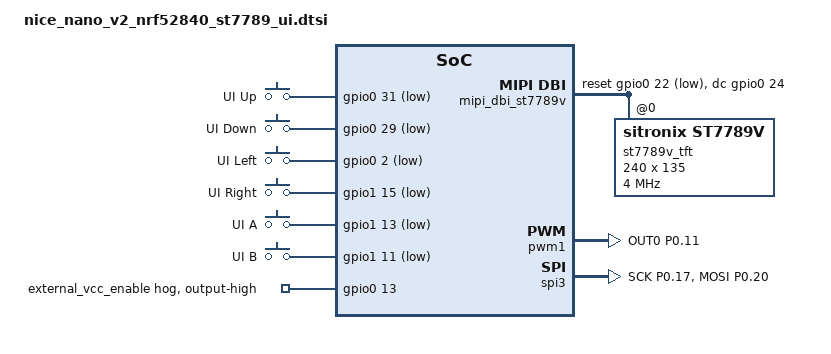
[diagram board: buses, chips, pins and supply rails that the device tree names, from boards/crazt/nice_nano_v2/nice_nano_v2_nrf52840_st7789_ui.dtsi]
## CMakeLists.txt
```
#
# Copyright (c) 2018 Nordic Semiconductor
#
# SPDX-License-Identifier: LicenseRef-Nordic-5-Clause
#
cmake_minimum_required(VERSION 3.20.0)

# Configure build metadata from git (best-effort)
find_package(Git)

if(GIT_EXECUTABLE)
  execute_process(
    COMMAND ${GIT_EXECUTABLE} branch --show-current
    WORKING_DIRECTORY ${CMAKE_SOURCE_DIR}
    OUTPUT_VARIABLE GIT_BRANCH
    )
  # Prefer a https URL for display (falls back to 'unknown')
  execute_process(
    COMMAND ${GIT_EXECUTABLE} config --get remote.origin.url
    WORKING_DIRECTORY ${CMAKE_SOURCE_DIR}
    OUTPUT_VARIABLE GIT_REPO_URL_SSH
    )
  execute_process(
    COMMAND ${GIT_EXECUTABLE} config --get remote.origin.https.url
    WORKING_DIRECTORY ${CMAKE_SOURCE_DIR}
    OUTPUT_VARIABLE GIT_REPO_URL_HTTPS
    )
  execute_process(
    COMMAND ${GIT_EXECUTABLE} log -1 --pretty=%an
    WORKING_DIRECTORY ${CMAKE_SOURCE_DIR}
    OUTPUT_VARIABLE GIT_AUTHOR
    )
endif()

if(GIT_BRANCH STREQUAL "")
  set(GIT_BRANCH unknown)
  message(WARNING "Unknown Git Branch")
endif()
# Choose URL: origin.https.url > origin.url
if(NOT GIT_REPO_URL_HTTPS STREQUAL "")
  set(GIT_REPO_URL ${GIT_REPO_URL_HTTPS})
else()
  set(GIT_REPO_URL ${GIT_REPO_URL_SSH})
endif()

# Normalize GitHub SSH URLs to HTTPS for display in firmware info
if(GIT_REPO_URL MATCHES "^git@github\\.com:(.+)$")
  set(GIT_REPO_URL "https://github.com/${CMAKE_MATCH_1}")
elseif(GIT_REPO_URL MATCHES "^ssh://git@github\\.com/(.+)$")
  set(GIT_REPO_URL "https://github.com/${CMAKE_MATCH_1}")
endif()
string(REGEX REPLACE "\\.git$" "" GIT_REPO_URL "${GIT_REPO_URL}")

if(GIT_REPO_URL STREQUAL "")
  set(GIT_REPO_URL unknown)
  message(WARNING "Unknown Git Repo URL")
endif()
if(GIT_AUTHOR STREQUAL "")
  set(GIT_AUTHOR unknown)
  message(WARNING "Unknown Git Author")
endif()

string(STRIP ${GIT_BRANCH} GIT_BRANCH)
string(STRIP ${GIT_REPO_URL} GIT_REPO_URL)
string(STRIP ${GIT_AUTHOR} GIT_AUTHOR)

# Pass metadata to C compilation units
add_compile_definitions(
  FW_GIT_BRANCH="${GIT_BRANCH}"
  FW_GIT_REPO_URL="${GIT_REPO_URL}"
  FW_GIT_AUTHOR="${GIT_AUTHOR}"
)

set(SLIMEVR_RECEIVER_HID_OVERLAY ${CMAKE_CURRENT_SOURCE_DIR}/boards/receiver_hid.overlay)
set(SLIMEVR_RECEIVER_ENTROPY_OVERLAY ${CMAKE_CURRENT_SOURCE_DIR}/boards/receiver_entropy.overlay)

if(DEFINED EXTRA_DTC_OVERLAY_FILE)
  set(EXTRA_DTC_OVERLAY_FILE ${SLIMEVR_RECEIVER_HID_OVERLAY} ${EXTRA_DTC_OVERLAY_FILE} ${SLIMEVR_RECEIVER_ENTROPY_OVERLAY})
else()
  set(EXTRA_DTC_OVERLAY_FILE ${SLIMEVR_RECEIVER_HID_OVERLAY} ${SLIMEVR_RECEIVER_ENTROPY_OVERLAY})
endif()

find_package(Zephyr REQUIRED HINTS $ENV{ZEPHYR_BASE})
project(NONE)

FILE(GLOB_RECURSE app_sources CONFIGURE_DEPENDS src/*.c)
# Data collection: choose HID or CDC implementation, or exclude both
if(CONFIG_DATA_COLLECT)
  if(CONFIG_DATA_COLLECT_HID)
    # HID mode: exclude CDC implementation
    list(FILTER app_sources EXCLUDE REGEX ".*data_collect\\.c$")
  else()
    # CDC mode: exclude HID implementation
    list(FILTER app_sources EXCLUDE REGEX ".*data_collect_hid\\.c$")
  endif()
else()
  # No data collection: exclude both
  list(FILTER app_sources EXCLUDE REGEX ".*data_collect.*\\.c$")
endif()
# NORDIC SDK APP START
target_sources(app PRIVATE ${app_sources})
# NORDIC SDK APP END

target_include_directories(app PRIVATE src)

# Force recompile for updated build timestamp
add_custom_target(touch_util_h ALL
    COMMAND ${CMAKE_COMMAND} -E touch ${CMAKE_SOURCE_DIR}/src/build_defines.h
)
```

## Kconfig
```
#
# Copyright (c) 2020 Nordic Semiconductor
#
# SPDX-License-Identifier: LicenseRef-Nordic-5-Clause
#

choice
	prompt "Status LED color mapping"
    default LED_TRI_COLOR

config LED_RGB_COLOR
    bool "Use RGB color mapping"
    help
        Use RGB or RG color mapping for LED status if available.

config LED_TRI_COLOR
    bool "Use default color mapping"
    help
        Use the default color mapping for LED status.

endchoice

menu "Status LED default status color"
    depends on LED_RGB_COLOR

config LED_DEFAULT_COLOR_R
    int "Red value"
    range 0 10000
    default 4000
    depends on LED_RGB_COLOR
    help
        Red color for default status.
        Valid range is 0 to 10000.

config LED_DEFAULT_COLOR_G
    int "Green value"
    range 0 10000
    default 6000
    depends on LED_RGB_COLOR
    help
        Green color for default status.
        Valid range is 0 to 10000.

config LED_DEFAULT_COLOR_B
    int "Blue value"
    range 0 10000
    default 0
    depends on LED_RGB_COLOR
    help
        Blue color for default status.
        Valid range is 0 to 10000.

endmenu

config RADIO_TX_POWER
    int "Radio output power (dBm)"
    default 30
    help
        Radio output power level.
        A lower value may reduce power consumption.

config RADIO_RF_CHANNEL
    int "Radio RF channel"
    default 2
    help
        Radio RF channel (0-100).
        Must match the receiver channel.

config RADIO_AUTO_CHANNEL
    bool "Loss-triggered runtime receiver channel avoidance"
    default y
    select ENTROPY_GENERATOR
    help
        Compile automatic avoidance support; runtime starts disabled on every
        boot. Explicit channelauto on enables it until reboot.
        Exchange short no-ACK identity beacons on the working channel
        every 2-4 seconds. A full 10-second normal sequence-loss window
        with at least 100 inferred frames and strictly more than 20% loss starts
        a distributed energy survey and finalist confirmation. Choose only
        even channels 0-88 with strictly quieter accepted peak energy than
        HOME; ties and incomplete coverage do not move. Matched paired-address
        activity rejects a visit. Known peer channels are excluded; HOME-only
        beacons do not negotiate destinations or prove other channels vacant.
        No observed peer is required for one trial migration. After a
        successful move and original-roster recovery, a fresh window on a
        stable receiver layout with persistent >20% loss stops automatic
        radio actions and suggests possible host USB/RF
        interference: use an extension cable and move away from the host.
        Explicit channelauto on or reboot clears the persistent-loss stop;
        reboot leaves avoidance disabled.
        Manual settings retain range 0-100; candidate channel 90 is excluded.
        Defers during pairing, OTA, raw capture and channel operations.
        Test-all suspends loss scans; working-channel beacons continue.
        A manual override disables avoidance until explicit channelauto on.

config RADIO_RETRANSMIT_DELAY
    int "Radio retransmit delay (µs)"
    default 600
    help
        Radio retransmit delay.

config PAIRING_TIMEOUT
    int "Pairing mode timeout (seconds)"
    default 300
    help
        Timeout for pairing mode in seconds.
        After this time, pairing mode will automatically exit.
        Default is 300 seconds (5 minutes).
        Set to 0 to disable timeout.

config DATA_COLLECT
    bool "Enable raw sensor data collection interface"
    default n
    help
        Enable streaming raw IMU and magnetometer data from trackers.
        Choose HID or CDC transport via DATA_COLLECT_HID.

config DATA_COLLECT_HID
    bool "Use HID endpoint for data collection (instead of CDC serial)"
    depends on DATA_COLLECT
    default y
    help
        When enabled, raw data is sent via a dedicated HID endpoint.
        When disabled, raw data is sent via a second CDC ACM serial port.

config SLIMEVR_USB_DEVICE_VID
    hex "SlimeVR USB vendor ID"
    default 0x1209
    help
        USB vendor ID used by the SlimeVR USBD_NEXT device.

config SLIMEVR_USB_DEVICE_PID
    hex "SlimeVR USB product ID"
    default 0x7690
    help
        USB product ID used by the SlimeVR receiver firmware.

config SLIMEVR_USB_DEVICE_MANUFACTURER
    string "SlimeVR USB manufacturer"
    default "SlimeVR"
    help
        USB manufacturer string and console banner prefix.

config SLIMEVR_USB_DEVICE_PRODUCT
    string "SlimeVR USB product"
    default "SlimeNRF Receiver"
    help
        USB product string and console banner name.

config SLIMEVR_USB_DEVICE_MAX_POWER
    int "SlimeVR USB max power"
    range 0 250
    default 100
    help
        USB bMaxPower value in 2 mA units.

menu "TDMA diagnostics"

config TDMA_DIAGNOSTICS
    bool "Compile in TDMA/RF phase diagnostics"
    default n
    help
        Per-tracker phase/RSSI histograms, sync bookkeeping counters
        (ping_rej, extrap_skip) and the console health snapshot.
        Disable for production builds: reclaims ~25 KB RAM and removes
        per-packet histogram work from the radio event path. TDMA
        scheduling and PING/PONG clock sync stay fully functional
        without this option; only the measurement instrumentation is
        removed at compile time.

endmenu

source "Kconfig.zephyr"
```

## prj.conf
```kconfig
#CONFIG_NCS_SAMPLES_DEFAULTS
CONFIG_ASSERT=y
CONFIG_ASSERT_NO_COND_INFO=y
CONFIG_ASSERT_NO_MSG_INFO=y
CONFIG_RESET_ON_FATAL_ERROR=n
CONFIG_REBOOT=y

CONFIG_NCS_APPLICATION_BOOT_BANNER_STRING="SlimeVR-Tracker-nRF-Receiver"
#CONFIG_NCS_BOOT_BANNER=n
CONFIG_BOOT_BANNER=n

# HEX carries mapped-partition addresses for native UF2 generation.
CONFIG_BUILD_OUTPUT_HEX=y

CONFIG_ESB=y
CONFIG_PICOLIBC=y
CONFIG_CBPRINTF_FP_SUPPORT=y

CONFIG_FPU=y

CONFIG_USB_DEVICE_STACK_NEXT=y
CONFIG_USBD_HID_SUPPORT=y
CONFIG_USBD_CDC_ACM_CLASS=y
CONFIG_CDC_ACM_SERIAL_INITIALIZE_AT_BOOT=n
CONFIG_SLIMEVR_USB_DEVICE_VID=0x1209
CONFIG_SLIMEVR_USB_DEVICE_PID=0x7690
CONFIG_UART_INTERRUPT_DRIVEN=y
#CONFIG_USB_WORKQUEUE_STACK_SIZE=512

CONFIG_SERIAL=y
CONFIG_CONSOLE=y
CONFIG_UART_CONSOLE=y
CONFIG_UART_LINE_CTRL=y

CONFIG_USE_SEGGER_RTT=y
CONFIG_LOG=y
#CONFIG_PRINTK=y
CONFIG_LOG_MODE_DEFERRED=y
CONFIG_LOG_SPEED=y
CONFIG_LOG_BACKEND_RTT=y
CONFIG_USBD_LOG_LEVEL_WRN=y
CONFIG_UDC_DRIVER_LOG_LEVEL_WRN=y
CONFIG_USBD_CDC_ACM_LOG_LEVEL_OFF=y
CONFIG_UDC_BUF_POOL_SIZE=4096
CONFIG_LOG_BUFFER_SIZE=4096
CONFIG_LOG_PROCESS_THREAD_SLEEP_MS=100
CONFIG_LOG_PROCESS_THREAD_STACK_SIZE=1024
CONFIG_LOG_PROCESS_THREAD_STARTUP_DELAY_MS=0

CONFIG_LOG_BACKEND_UART=y
CONFIG_LOG_BACKEND_UART_AUTOSTART=n
CONFIG_LOG_MODE_DEFERRED=y

CONFIG_CONSOLE_SUBSYS=y

CONFIG_NVS_LOG_LEVEL_WRN=y
CONFIG_USBD_HID_LOG_LEVEL_WRN=y

CONFIG_USBD_HID_IN_BUF_COUNT=4
CONFIG_USBD_HID_OUT_BUF_COUNT=4

CONFIG_GPIO=y
CONFIG_PWM=y

CONFIG_NVS=y

CONFIG_FLASH=y
CONFIG_FLASH_PAGE_LAYOUT=y
CONFIG_FLASH_MAP=y
CONFIG_USE_DT_CODE_PARTITION=y

CONFIG_SETTINGS=y
CONFIG_SETTINGS_NVS=y
CONFIG_SETTINGS_RUNTIME=y
CONFIG_SETTINGS_NONE=y

CONFIG_MPU_ALLOW_FLASH_WRITE=y

CONFIG_NVS_LOOKUP_CACHE=y

CONFIG_ESB_MAX_PAYLOAD_LENGTH=72
CONFIG_ESB_TX_FIFO_SIZE=16
CONFIG_ESB_RX_FIFO_SIZE=16
# CONFIG_NRFX_TIMER1=y

#speed up boot? (use internal rc oscillator)
#CONFIG_CLOCK_CONTROL_NRF_K32SRC_RC=y
#speed up boot? (synthesize lf clock)
CONFIG_CLOCK_CONTROL_NRF_K32SRC_SYNTH=y

# dont need it
CONFIG_CRYPTO=n

CONFIG_THREAD_NAME=y
CONFIG_SYSTEM_WORKQUEUE_STACK_SIZE=1024
CONFIG_MAIN_STACK_SIZE=2048

#CONFIG_HEAP_MEM_POOL_SIZE=2048
CONFIG_ISR_STACK_SIZE=1024

CONFIG_RADIO_RF_CHANNEL=84
CONFIG_RADIO_RETRANSMIT_DELAY=310
CONFIG_RADIO_TX_POWER=30

CONFIG_LTO=y
CONFIG_ISR_TABLES_LOCAL_DECLARATION=y
```

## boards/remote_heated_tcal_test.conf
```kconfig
CONFIG_SK_REMOTE_HEATED_TCAL_TEST=y
```

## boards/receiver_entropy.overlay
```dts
/* ENTROPY_GENERATOR also enables Zephyr's chosen-device random backend.
 * nRF52833/840 receivers use their RNG, not disabled CryptoCell. */
/ {
	chosen {
		zephyr,entropy = &rng;
	};
};

&rng {
	status = "okay";
};
```

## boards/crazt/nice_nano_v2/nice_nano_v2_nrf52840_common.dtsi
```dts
// Copyright (c) 2026
// SPDX-License-Identifier: Apache-2.0

#include <nordic/nrf52840_qiaa.dtsi>
#include <zephyr/dt-bindings/input/input-event-codes.h>

&pinctrl {
	pwm0_default: pwm0_default {
		group1 {
			psels = <NRF_PSEL(PWM_OUT0, 0, 15)>;
			nordic,drive-mode = <NRF_DRIVE_D0S1>;
		};
	};

	pwm0_sleep: pwm0_sleep {
		group1 {
			psels = <NRF_PSEL(PWM_OUT0, 0, 15)>;
			low-power-enable;
		};
	};
};

/ {
	model = "nice!nano v2";
	compatible = "nice_nano_v2";

	chosen {
		zephyr,sram = &sram0;
		zephyr,flash = &flash0;
		zephyr,console = &cdc_acm_uart0;
		zephyr,shell-uart = &cdc_acm_uart0;
	};

	pwmleds: pwmleds {
		compatible = "pwm-leds";
		pwm_led0: pwm_led_0 {
			pwms = <&pwm0 0 PWM_MSEC(1) PWM_POLARITY_NORMAL>;
		};
	};

	buttons: buttons {
		compatible = "gpio-keys";
		debounce-interval-ms = <30>;
		button0: button_0 {
			gpios = <&gpio0 6 (GPIO_PULL_UP | GPIO_ACTIVE_LOW)>;
			label = "D1";
			zephyr,code = <INPUT_KEY_0>;
		};
	};

	aliases {
		sw0 = &button0;
		pwm-led0 = &pwm_led0;
		mcuboot-button0 = &button0;
		watchdog0 = &wdt0;
	};

	zephyr,user {
		led-gpios = <&gpio0 15 GPIO_OPEN_SOURCE>;
	};
};

&reg1 {
	regulator-initial-mode = <NRF5X_REG_MODE_DCDC>;
};

&gpio0 {
	status = "okay";
};

&gpio1 {
	status = "okay";
};

&gpiote {
	status = "okay";
};

&pwm0 {
	status = "okay";
	pinctrl-0 = <&pwm0_default>;
	pinctrl-1 = <&pwm0_sleep>;
	pinctrl-names = "default", "sleep";
};

zephyr_udc0: &usbd {
	compatible = "nordic,nrf-usbd";
	status = "okay";
	cdc_acm_uart0: cdc_acm_uart0 {
		compatible = "zephyr,cdc-acm-uart";
	};
};

&cryptocell {
	status = "disabled";
};

&nfct {
	status = "disabled";
};
```

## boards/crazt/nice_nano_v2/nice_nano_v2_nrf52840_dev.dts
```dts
// Copyright (c) 2026
// SPDX-License-Identifier: Apache-2.0

/dts-v1/;
#include "nice_nano_v2_nrf52840_common.dtsi"
```

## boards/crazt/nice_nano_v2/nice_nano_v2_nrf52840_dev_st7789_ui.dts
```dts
// Copyright (c) 2026
// SPDX-License-Identifier: Apache-2.0

/dts-v1/;
#include "nice_nano_v2_nrf52840_common.dtsi"
#include "nice_nano_v2_nrf52840_st7789_ui.dtsi"
```

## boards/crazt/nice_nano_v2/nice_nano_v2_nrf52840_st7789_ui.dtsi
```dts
// Copyright (c) 2026
// SPDX-License-Identifier: Apache-2.0

#include <zephyr/dt-bindings/gpio/gpio.h>
#include <zephyr/dt-bindings/input/input-event-codes.h>
#include <zephyr/dt-bindings/lvgl/lvgl.h>
#include <zephyr/dt-bindings/mipi_dbi/mipi_dbi.h>

&pinctrl {
	spi3_default: spi3_default {
		group1 {
			psels = <NRF_PSEL(SPIM_SCK, 0, 17)>,
				<NRF_PSEL(SPIM_MOSI, 0, 20)>;
		};
	};

	spi3_sleep: spi3_sleep {
		group1 {
			psels = <NRF_PSEL(SPIM_SCK, 0, 17)>,
				<NRF_PSEL(SPIM_MOSI, 0, 20)>;
			low-power-enable;
		};
	};

	pwm1_default: pwm1_default {
		group1 {
			psels = <NRF_PSEL(PWM_OUT0, 0, 11)>;
		};
	};

	pwm1_sleep: pwm1_sleep {
		group1 {
			psels = <NRF_PSEL(PWM_OUT0, 0, 11)>;
			low-power-enable;
		};
	};
};

/ {
	chosen {
		zephyr,display = &st7789v_tft;
	};

	aliases {
		sw0 = &button_a;
		ui-up = &button_up;
		ui-down = &button_down;
		ui-left = &button_left;
		ui-right = &button_right;
		ui-a = &button_a;
		ui-b = &button_b;
		ui-enter = &button_a;
		ui-back = &button_b;
		lcd-backlight = &lcd_backlight;
		mcuboot-button0 = &button_a;
	};

	mipi_dbi_st7789v {
		compatible = "zephyr,mipi-dbi-spi";
		spi-dev = <&spi3>;
		xfr-min-bits = "MIPI_DBI_SPI_XFR_8BIT";
		/* Match the common ST7789 header order on the left side: SCL/SDA/RES/DC/CS/BLK. */
		dc-gpios = <&gpio0 24 GPIO_ACTIVE_HIGH>;
		reset-gpios = <&gpio0 22 GPIO_ACTIVE_LOW>;
		write-only;
		#address-cells = <1>;
		#size-cells = <0>;
		status = "okay";

		st7789v_tft: st7789v@0 {
			compatible = "sitronix,st7789v";
			reg = <0>;
			mipi-max-frequency = <4000000>;
			ready-time-ms = <250>;

			width = <240>;
			height = <135>;
			x-offset = <40>;
			y-offset = <53>;

			vcom = <0x19>;
			gctrl = <0x35>;
			vrhs = <0x12>;
			vdvs = <0x20>;
			mdac = <0x77>;
			gamma = <0x00>;
			colmod = <0x05>;
			lcm = <0x2c>;
			porch-param = [0c 0c 00 33 33];
			cmd2en-param = [5a 69 02 00];
			pwctrl1-param = [a4 a1];
			pvgam-param = [d0 04 0d 11 13 2b 3f 54 4c 18 0d 0b 1f 23];
			nvgam-param = [d0 04 0c 11 13 2c 3f 44 51 2f 1f 1f 20 23];
			ram-param = [00 f0];
			rgb-param = [40 02 14];
			mipi-mode = "MIPI_DBI_MODE_SPI_4WIRE";
			status = "okay";
		};
	};

	lvgl_keypad: slimenrf-lvgl-keypad {
		compatible = "zephyr,lvgl-keypad-input";
		input = <&buttons>;
		input-codes = <INPUT_KEY_UP INPUT_KEY_DOWN INPUT_KEY_LEFT INPUT_KEY_RIGHT INPUT_KEY_ENTER INPUT_KEY_ESC>;
		lvgl-codes = <LV_KEY_UP LV_KEY_DOWN LV_KEY_LEFT LV_KEY_RIGHT LV_KEY_ENTER LV_KEY_ESC>;
	};
};

&buttons {
	button_up: button_up {
		gpios = <&gpio0 31 (GPIO_PULL_UP | GPIO_ACTIVE_LOW)>;
		label = "UI Up";
		zephyr,code = <INPUT_KEY_UP>;
	};

	button_down: button_down {
		gpios = <&gpio0 29 (GPIO_PULL_UP | GPIO_ACTIVE_LOW)>;
		label = "UI Down";
		zephyr,code = <INPUT_KEY_DOWN>;
	};

	button_left: button_left {
		gpios = <&gpio0 2 (GPIO_PULL_UP | GPIO_ACTIVE_LOW)>;
		label = "UI Left";
		zephyr,code = <INPUT_KEY_LEFT>;
	};

	button_right: button_right {
		gpios = <&gpio1 15 (GPIO_PULL_UP | GPIO_ACTIVE_LOW)>;
		label = "UI Right";
		zephyr,code = <INPUT_KEY_RIGHT>;
	};

	button_a: button_a {
		gpios = <&gpio1 13 (GPIO_PULL_UP | GPIO_ACTIVE_LOW)>;
		label = "UI A";
		zephyr,code = <INPUT_KEY_ENTER>;
	};

	button_b: button_b {
		gpios = <&gpio1 11 (GPIO_PULL_UP | GPIO_ACTIVE_LOW)>;
		label = "UI B";
		zephyr,code = <INPUT_KEY_ESC>;
	};
};

&gpio0 {
	external_vcc_enable: external_vcc_enable {
		gpio-hog;
		gpios = <13 GPIO_ACTIVE_HIGH>;
		/* nice!nano v2 disables the external 3V3/VCC rail when P0.13 is low. */
		output-high;
	};
};

&pwmleds {
	lcd_backlight: lcd_backlight {
		pwms = <&pwm1 0 PWM_MSEC(1) PWM_POLARITY_NORMAL>;
	};
};

&pwm1 {
	status = "okay";
	pinctrl-0 = <&pwm1_default>;
	pinctrl-1 = <&pwm1_sleep>;
	pinctrl-names = "default", "sleep";
};

&spi3 {
	compatible = "nordic,nrf-spim";
	status = "okay";
	cs-gpios = <&gpio1 0 GPIO_ACTIVE_LOW>;
	pinctrl-0 = <&spi3_default>;
	pinctrl-1 = <&spi3_sleep>;
	pinctrl-names = "default", "sleep";
};
```

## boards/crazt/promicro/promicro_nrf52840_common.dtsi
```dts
// Copyright (c) 2026
// SPDX-License-Identifier: Apache-2.0

#include <nordic/nrf52840_qiaa.dtsi>
#include <zephyr/dt-bindings/input/input-event-codes.h>

&pinctrl {
	pwm0_default: pwm0_default {
		group1 {
			psels = <NRF_PSEL(PWM_OUT0, 0, 15)>;
			nordic,drive-mode = <NRF_DRIVE_D0S1>;
		};
	};

	pwm0_sleep: pwm0_sleep {
		group1 {
			psels = <NRF_PSEL(PWM_OUT0, 0, 15)>;
			low-power-enable;
		};
	};
};

/ {
	model = "Crazt ProMicro nRF52840";
	compatible = "crazt,promicro";

	chosen {
		zephyr,sram = &sram0;
		zephyr,flash = &flash0;
		zephyr,console = &cdc_acm_uart0;
		zephyr,shell-uart = &cdc_acm_uart0;
	};

	pwmleds: pwmleds {
		compatible = "pwm-leds";
		pwm_led0: pwm_led_0 {
			pwms = <&pwm0 0 PWM_MSEC(1) PWM_POLARITY_NORMAL>;
		};
	};

	buttons: buttons {
		compatible = "gpio-keys";
		debounce-interval-ms = <30>;
		button_a: button_a {
			gpios = <&gpio1 13 (GPIO_PULL_UP | GPIO_ACTIVE_LOW)>;
			label = "UI A";
			zephyr,code = <INPUT_KEY_ENTER>;
		};
	};

	aliases {
		sw0 = &button_a;
		pwm-led0 = &pwm_led0;
		mcuboot-button0 = &button_a;
		watchdog0 = &wdt0;
	};

	zephyr,user {
		led-gpios = <&gpio0 15 GPIO_OPEN_SOURCE>;
	};
};

&reg1 {
	regulator-initial-mode = <NRF5X_REG_MODE_DCDC>;
};

&gpio0 {
	status = "okay";
};

&gpio1 {
	status = "okay";
};

&gpiote {
	status = "okay";
};

&pwm0 {
	status = "okay";
	pinctrl-0 = <&pwm0_default>;
	pinctrl-1 = <&pwm0_sleep>;
	pinctrl-names = "default", "sleep";
};

zephyr_udc0: &usbd {
	compatible = "nordic,nrf-usbd";
	status = "okay";
	cdc_acm_uart0: cdc_acm_uart0 {
		compatible = "zephyr,cdc-acm-uart";
	};
};

&cryptocell {
	status = "disabled";
};

&nfct {
	status = "disabled";
};
```

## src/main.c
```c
/*
	SlimeVR Code is placed under the MIT license
	Copyright (c) 2025 SlimeVR Contributors

	Permission is hereby granted, free of charge, to any person obtaining a copy
	of this software and associated documentation files (the "Software"), to deal
	in the Software without restriction, including without limitation the rights
	to use, copy, modify, merge, publish, distribute, sublicense, and/or sell
	copies of the Software, and to permit persons to whom the Software is
	furnished to do so, subject to the following conditions:

	The above copyright notice and this permission notice shall be included in
	all copies or substantial portions of the Software.

	THE SOFTWARE IS PROVIDED "AS IS", WITHOUT WARRANTY OF ANY KIND, EXPRESS OR
	IMPLIED, INCLUDING BUT NOT LIMITED TO THE WARRANTIES OF MERCHANTABILITY,
	FITNESS FOR A PARTICULAR PURPOSE AND NONINFRINGEMENT. IN NO EVENT SHALL THE
	AUTHORS OR COPYRIGHT HOLDERS BE LIABLE FOR ANY CLAIM, DAMAGES OR OTHER
	LIABILITY, WHETHER IN AN ACTION OF CONTRACT, TORT OR OTHERWISE, ARISING FROM,
	OUT OF OR IN CONNECTION WITH THE SOFTWARE OR THE USE OR OTHER DEALINGS IN
	THE SOFTWARE.
*/
#include "globals.h"
#include "system/system.h"
#include "system/led.h"
#include "system/status.h"
#include "connection/esb.h"

#include <zephyr/kernel.h>
#include <zephyr/sys/reboot.h>
#if defined(CONFIG_BOOTLOADER_MCUBOOT)
#include <zephyr/dfu/mcuboot.h>
#endif

LOG_MODULE_REGISTER(main, LOG_LEVEL_INF);

static void boot_confirm_after_healthy_uptime(void)
{
#if defined(CONFIG_BOOTLOADER_MCUBOOT) || \
	(CONFIG_SOC_SERIES_NRF52 && CONFIG_BUILD_OUTPUT_UF2)
	int64_t remaining_ms = 60000 - k_uptime_get();
	if (remaining_ms > 0) {
		k_sleep(K_MSEC(remaining_ms));
	}
	sys_mark_boot_success();
#if defined(CONFIG_BOOTLOADER_MCUBOOT)
	if (!boot_is_img_confirmed()) {
		int err = boot_write_img_confirmed();
		if (err) {
			LOG_ERR("Failed to confirm MCUboot image: %d", err);
		} else {
			LOG_INF("MCUboot test image confirmed");
		}
	}
#endif
#endif
}

int main(void)
{
	// Initialize LED system first
	set_led(SYS_LED_PATTERN_ACTIVE_PERSIST, SYS_LED_PRIORITY_SYSTEM);

	// Boot sequence with button detection
	set_led(SYS_LED_PATTERN_ON, SYS_LED_PRIORITY_BOOT);

	uint8_t reboot_counter = reboot_counter_read();
	bool booting_from_shutdown = !reboot_counter;

	// Check if button is pressed during boot
	if (button_read())
	{
		LOG_INF("Button detected during boot");
		int64_t boot_start = k_uptime_get();
		bool pairing_reset_saved = false;

		while (button_read())
		{
			if (k_uptime_get() - boot_start > 1000)
				set_led(SYS_LED_PATTERN_LONG, SYS_LED_PRIORITY_HIGHEST);
			if (k_uptime_get() - boot_start > 5000)
			{
				LOG_INF("Boot-time pairing reset requested");
				pairing_reset_saved = esb_clear() == 0;
				break;
			}
			k_msleep(10);
		}

		if (pairing_reset_saved)
			set_led(SYS_LED_PATTERN_ONESHOT_COMPLETE, SYS_LED_PRIORITY_HIGHEST);
		else if (k_uptime_get() - boot_start > 50) // Short press during boot
			set_led(SYS_LED_PATTERN_ONESHOT_POWERON, SYS_LED_PRIORITY_HIGHEST);
	}
	else if (booting_from_shutdown)
	{
		set_led(SYS_LED_PATTERN_ONESHOT_POWERON, SYS_LED_PRIORITY_BOOT);
	}

	// Clear boot LED priority
	set_led(SYS_LED_PATTERN_OFF, SYS_LED_PRIORITY_BOOT);
	boot_confirm_after_healthy_uptime();

	return 0;
}
```

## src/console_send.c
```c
/*
	SlimeVR Code is placed under the MIT license
	Copyright (c) 2025 SlimeVR Contributors

	Permission is hereby granted, free of charge, to any person obtaining a copy
	of this software and associated documentation files (the "Software"), to deal
	in the Software without restriction, including without limitation the rights
	to use, copy, modify, merge, publish, distribute, sublicense, and/or sell
	copies of the Software, and to permit persons to whom the Software is
	furnished to do so, subject to the following conditions:

	The above copyright notice and this permission notice shall be included in
	all copies or substantial portions of the Software.

	THE SOFTWARE IS PROVIDED "AS IS", WITHOUT WARRANTY OF ANY KIND, EXPRESS OR
	IMPLIED, INCLUDING BUT NOT LIMITED TO THE WARRANTIES OF MERCHANTABILITY,
	FITNESS FOR A PARTICULAR PURPOSE AND NONINFRINGEMENT. IN NO EVENT SHALL THE
	AUTHORS OR COPYRIGHT HOLDERS BE LIABLE FOR ANY CLAIM, DAMAGES OR OTHER
	LIABILITY, WHETHER IN AN ACTION OF CONTRACT, TORT OR OTHERWISE, ARISING FROM,
	OUT OF OR IN CONNECTION WITH THE SOFTWARE OR THE USE OR OTHER DEALINGS IN
	THE SOFTWARE.
*/
#include "console_send.h"

#include "rcv_cmd.h"

#include <stdlib.h>
#include <string.h>
#include <zephyr/sys/printk.h>

#define SENS_AUTO_MAX_REVOLUTIONS 100

static void console_send_flag(bool target_all, uint8_t tracker_id, uint8_t flag, const char *name)
{
	uint8_t tid = target_all ? RCV_HID_TARGET_ALL : tracker_id;
	uint8_t st = rcv_cmd_remote_flag(tid, flag);
	if (st == RCV_HID_ST_QUEUED) {
		if (target_all) {
			printk("%s request sent to all active trackers\n", name);
		} else {
			printk("%s request sent to tracker %d\n", name, tracker_id);
		}
	} else {
		printk("%s failed: status %u\n", name, st);
	}
}

void console_handle_send(char *arg, char *arg2, char *arg3, char *arg4, char *arg5)
{
	if (!arg || !arg2) {
		printk("Usage: send <id|all> <command>\n");
		printk("Examples:\n");
		printk("  send 0 shutdown      - Shutdown tracker 0\n");
		printk("  send all shutdown    - Shutdown all active trackers\n");
		printk("  send 1 calibrate     - Zero-bias calibration on tracker 1\n");
		printk("  send 1 calibrate acc - Accelerometer calibration (18 orientations)\n");
		printk("  send all meow        - Make all active trackers meow\n");
		printk("  send 2 reboot        - Reboot tracker 2\n");
		printk("  send 3 clear         - Clear pairing on tracker 3\n");
		printk("  send all dfu         - Enter DFU mode on all active trackers\n");
		printk(
			"Available commands: shutdown, calibrate [acc], meow, scan, mag, reboot, clear, dfu, sens, "
			"reset, ping, tcal, tdma, test, wom enter, wom timeout [minutes]\n"
		);
		return;
	}

	bool target_all = (strcmp(arg, "all") == 0);
	uint8_t tracker_id = 0;

	if (!target_all) {
		char *endptr;
		long id = strtol(arg, &endptr, 10);

		if (*endptr != '\0' || id < 0 || id > 255) {
			printk("Invalid tracker ID. Use a number (0-255) or 'all'\n");
			return;
		}
		tracker_id = (uint8_t)id;
	}

	if (strcmp(arg2, "wom") == 0) {
		bool enter = arg3 && strcmp(arg3, "enter") == 0;
		if (!arg3 || (!enter && strcmp(arg3, "timeout") != 0) ||
		    arg5 || (enter && arg4)) {
			printk("Usage: send <id|all> wom enter | wom timeout [minutes: 0-35791; 0 restores firmware default]\n");
			return;
		}
		uint32_t minutes = enter ? ESB_WOM_ENTER : 0;
		if (arg4) {
			if (!*arg4) {
				printk("Minutes must be an integer from 0 to 35791 (0 restores firmware default)\n");
				return;
			}
			for (const char *p = arg4; *p; p++) {
				if (*p < '0' || *p > '9' || minutes > 35791) {
					printk("Minutes must be an integer from 0 to 35791 (0 restores firmware default)\n");
					return;
				}
				minutes = minutes * 10 + (uint32_t)(*p - '0');
			}
			if (minutes > 35791) {
				printk("Minutes must be an integer from 0 to 35791 (0 restores firmware default)\n");
				return;
			}
			if (minutes == 0) {
				minutes = ESB_WOM_TIMEOUT_CLEAR;
			}
		}
		uint8_t st = rcv_cmd_remote_wom_command(
			target_all ? RCV_HID_TARGET_ALL : tracker_id, (uint16_t)minutes);
		if (st == RCV_HID_ST_STARTED) {
			printk("WOM command queued; waiting for tracker results (entry success means accepted, not asleep)\n");
		} else {
			printk("WOM command request failed: status %u\n", st);
		}
		return;
	}

	uint8_t cmd_flag = 0xFF;
	const char *cmd_name = NULL;

	if (strcmp(arg2, "shutdown") == 0) {
		cmd_flag = ESB_PONG_FLAG_SHUTDOWN;
		cmd_name = "Shutdown";
	} else if (strcmp(arg2, "calibrate") == 0) {
		if (arg4 || arg5 || (arg3 && strcmp(arg3, "acc") != 0)) {
			printk("Usage: send <id|all> calibrate [acc]\n");
			return;
		}
		cmd_flag = arg3 ? ESB_PONG_FLAG_CALIBRATE_ACC : ESB_PONG_FLAG_CALIBRATE;
		cmd_name = arg3 ? "Accelerometer calibration (18 orientations)" : "Zero-bias calibration";
	} else if (strcmp(arg2, "6-side") == 0) {
		if (arg3 || arg4 || arg5) {
			printk("Usage: send <id|all> calibrate acc\n");
			return;
		}
		printk("'6-side' is the historical name; use 'calibrate acc' (18 orientations).\n");
		cmd_flag = ESB_PONG_FLAG_CALIBRATE_ACC;
		cmd_name = "Accelerometer calibration (18 orientations)";
	} else if (strcmp(arg2, "meow") == 0) {
		cmd_flag = ESB_PONG_FLAG_MEOW;
		cmd_name = "Meow";
	} else if (strcmp(arg2, "scan") == 0) {
		cmd_flag = ESB_PONG_FLAG_SCAN;
		cmd_name = "Sensor scan";
	} else if (strcmp(arg2, "mag") == 0) {
		if (!arg3) {
			printk("Usage: send <id|all> mag <on|off|clear|cal|auto on|auto off>\n");
			printk("  on       - Enable magnetometer\n");
			printk("  off      - Disable magnetometer\n");
			printk("  clear    - Clear magnetometer calibration\n");
			printk("  cal      - Start magnetometer calibration\n");
			printk("  auto on  - Enable online magnetometer calibration\n");
			printk("  auto off - Disable online magnetometer calibration\n");
			return;
		}

		uint8_t mag_cmd = 0xFF;
		const char *mag_name = NULL;

		if (strcmp(arg3, "on") == 0) {
			mag_cmd = ESB_PONG_FLAG_MAG_ON;
			mag_name = "Magnetometer enable";
		} else if (strcmp(arg3, "off") == 0) {
			mag_cmd = ESB_PONG_FLAG_MAG_OFF;
			mag_name = "Magnetometer disable";
		} else if (strcmp(arg3, "clear") == 0) {
			mag_cmd = ESB_PONG_FLAG_MAG_CLEAR;
			mag_name = "Magnetometer calibration clear";
		} else if (strcmp(arg3, "cal") == 0 || strcmp(arg3, "calibrate") == 0) {
			mag_cmd = ESB_PONG_FLAG_MAG_CAL;
			mag_name = "Magnetometer calibration";
		} else if (strcmp(arg3, "auto") == 0 || strcmp(arg3, "online") == 0) {
			if (!arg4) {
				printk("Usage: send <id|all> mag %s <on|off>\n", arg3);
				return;
			}
			if (strcmp(arg4, "on") == 0) {
				mag_cmd = ESB_PONG_FLAG_MAG_AUTO_ON;
				mag_name = "Online magnetometer calibration enable";
			} else if (strcmp(arg4, "off") == 0) {
				mag_cmd = ESB_PONG_FLAG_MAG_AUTO_OFF;
				mag_name = "Online magnetometer calibration disable";
			} else {
				printk("Invalid mag %s argument: %s (use 'on' or 'off')\n", arg3, arg4);
				return;
			}
		} else {
			printk("Unknown mag subcommand: %s (use 'on', 'off', 'clear', 'cal' or 'auto')\n", arg3);
			return;
		}

		console_send_flag(target_all, tracker_id, mag_cmd, mag_name);
		return;
	} else if (strcmp(arg2, "reboot") == 0) {
		cmd_flag = ESB_PONG_FLAG_REBOOT;
		cmd_name = "Reboot";
	} else if (strcmp(arg2, "clear") == 0) {
		cmd_flag = ESB_PONG_FLAG_CLEAR;
		cmd_name = "Clear pairing";
	} else if (strcmp(arg2, "dfu") == 0) {
		if (arg3 && strcmp(arg3, "ota") == 0) {
			cmd_flag = ESB_PONG_FLAG_DFU_OTA;
			cmd_name = "OTA DFU mode";
		} else if (!arg3) {
			cmd_flag = ESB_PONG_FLAG_DFU;
			cmd_name = "UF2 DFU mode";
		} else {
			printk("Unknown dfu subcommand: %s (use 'ota' or omit it)\n", arg3);
			return;
		}
	} else if (strcmp(arg2, "fusion") == 0) {
		cmd_flag = ESB_PONG_FLAG_FUSION_RESET;
		cmd_name = "Fusion reset";
	} else if (strcmp(arg2, "channel") == 0) {
		if (!arg3) {
			printk("Usage: send all channel <0-100>\n");
			printk("Example: send all channel 25 - Set all active trackers to channel 25\n");
			return;
		}

		char *endptr;
		long channel = strtol(arg3, &endptr, 10);

		if (*endptr != '\0' || channel < 0 || channel > 100) {
			printk("Invalid channel. Must be a number between 0 and 100.\n");
			return;
		}

		if (!target_all) {
			printk("Channel command only supports 'all' target\n");
			return;
		}

		uint8_t st = rcv_cmd_tracker_channel_all((uint8_t)channel);
		if (st == RCV_HID_ST_STARTED || st == RCV_HID_ST_OK) {
			printk("Setting RF channel to %d for all active trackers and receiver\n", (int)channel);
		}
		return;
	} else if (strcmp(arg2, "clearchannel") == 0) {
		if (!target_all) {
			printk("Clearchannel command only supports 'all' target\n");
			return;
		}

		uint8_t st = rcv_cmd_tracker_channel_clear_all();
		if (st == RCV_HID_ST_STARTED || st == RCV_HID_ST_OK) {
			printk("Clearing RF channel for all active trackers and receiver\n");
		}
		return;
	} else if (strcmp(arg2, "sens") == 0) {
		if (!arg3) {
			printk("Usage: send <id|all> sens <x>,<y>,<z>\n");
			printk("Usage: send <id|all> sens reset\n");
			printk("Usage: send <id|all> sens auto <x|y|z> [revolutions]\n");
			printk("Example: send 0 sens 1.0,1.0,1.0\n");
			printk("Example: send all sens reset\n");
			printk("Example: send 0 sens auto z 5\n");
			return;
		}

		if (strcmp(arg3, "reset") == 0) {
			console_send_flag(target_all, tracker_id, ESB_PONG_FLAG_SENS_RESET, "Sens reset");
		} else if (strcmp(arg3, "auto") == 0) {
			if (!arg4 || arg4[0] == '\0') {
				printk("Usage: send <id|all> sens auto <x|y|z> [revolutions]\n");
				return;
			}

			if (arg4[1] != '\0') {
				printk("Usage: send <id|all> sens auto <x|y|z> [revolutions]\n");
				return;
			}

			uint8_t axis;
			if (arg4[0] == 'x') {
				axis = 0;
			} else if (arg4[0] == 'y') {
				axis = 1;
			} else if (arg4[0] == 'z') {
				axis = 2;
			} else {
				printk("Invalid axis '%s'. Use x, y, or z.\n", arg4);
				return;
			}

			uint16_t revolutions = 0;
			if (arg5 && *arg5) {
				char *endptr;
				long value = strtol(arg5, &endptr, 10);
				if (*endptr != '\0' || value < 1 || value > SENS_AUTO_MAX_REVOLUTIONS) {
					printk("Invalid revolutions '%s'. Use 1 to %u.\n", arg5, SENS_AUTO_MAX_REVOLUTIONS);
					return;
				}
				revolutions = (uint16_t)value;
			}

			uint8_t tid = target_all ? RCV_HID_TARGET_ALL : tracker_id;
			uint8_t st = rcv_cmd_remote_sens_auto(tid, axis, revolutions);
			if (st == RCV_HID_ST_QUEUED) {
				if (target_all) {
					if (revolutions == 0) {
						printk(
							"Sens auto request sent to all active trackers on %c axis using tracker "
							"default rev\n",
							'x' + axis
						);
					} else {
						printk(
							"Sens auto request sent to all active trackers on %c axis for %u rev\n",
							'x' + axis,
							revolutions
						);
					}
				} else if (revolutions == 0) {
					printk(
						"Sens auto request sent to tracker %d on %c axis using tracker default rev\n",
						tracker_id,
						'x' + axis
					);
				} else {
					printk(
						"Sens auto request sent to tracker %d on %c axis for %u rev\n",
						tracker_id,
						'x' + axis,
						revolutions
					);
				}
			} else if (!target_all) {
				printk("Sens auto request not queued: tracker %d is not active or invalid\n", tracker_id);
			}
		} else {
			char *token;
			char *endptr;
			int token_count = 0;
			float values[3];

			token = strtok(arg3, ",");
			while (token != NULL && token_count < 3) {
				values[token_count] = strtof(token, &endptr);
				if (token == endptr || *endptr != '\0') {
					printk("Invalid float value: %s\n", token);
					break;
				}
				token_count++;
				token = strtok(NULL, ",");
			}

			if (token_count == 3) {
				uint8_t tid = target_all ? RCV_HID_TARGET_ALL : tracker_id;
				if (rcv_cmd_remote_sens_set(tid, values[0], values[1], values[2]) == RCV_HID_ST_QUEUED) {
					if (target_all) {
						printk(
							"Sens set (%.2f,%.2f,%.2f) request sent to all active trackers\n",
							(double)values[0],
							(double)values[1],
							(double)values[2]
						);
					} else {
						printk(
							"Sens set (%.2f,%.2f,%.2f) request sent to tracker %d\n",
							(double)values[0],
							(double)values[1],
							(double)values[2],
							tracker_id
						);
					}
				}
			} else {
				printk("Error: Invalid format. Use: sens <x>,<y>,<z> or sens reset\n");
				printk("Example: sens 10.5,-2.1,15.0\n");
			}
		}
		return;
	} else if (strcmp(arg2, "reset") == 0) {
		if (!arg3) {
			printk("Usage: send <id|all> reset <zro|acc|bat|mag|tcal|fusion>\n");
			printk("Example: send 0 reset zro\n");
			printk("Example: send all reset acc\n");
			return;
		}

		uint8_t reset_cmd = 0xFF;
		const char *reset_name = NULL;

		if (strcmp(arg3, "zro") == 0) {
			reset_cmd = ESB_PONG_FLAG_RESET_ZRO;
			reset_name = "ZRO reset";
		} else if (strcmp(arg3, "acc") == 0) {
			reset_cmd = ESB_PONG_FLAG_RESET_ACC;
			reset_name = "Accelerometer reset";
		} else if (strcmp(arg3, "bat") == 0) {
			reset_cmd = ESB_PONG_FLAG_RESET_BAT;
			reset_name = "Battery reset";
		} else if (strcmp(arg3, "mag") == 0) {
			reset_cmd = ESB_PONG_FLAG_MAG_CLEAR;
			reset_name = "Magnetometer calibration reset";
		} else if (strcmp(arg3, "tcal") == 0) {
			reset_cmd = ESB_PONG_FLAG_RESET_TCAL;
			reset_name = "Temperature calibration reset";
		} else if (strcmp(arg3, "fusion") == 0) {
			reset_cmd = ESB_PONG_FLAG_FUSION_RESET;
			reset_name = "Fusion reset";
		} else {
			printk("Unknown reset command: %s\n", arg3);
			printk("Available: zro, acc, bat, mag, tcal, fusion\n");
			return;
		}

		console_send_flag(target_all, tracker_id, reset_cmd, reset_name);
		return;
	} else if (strcmp(arg2, "ping") == 0) {
		console_send_flag(target_all, tracker_id, ESB_PONG_FLAG_PING, "Ping");
		return;
	} else if (strcmp(arg2, "tcal") == 0) {
		if (!arg3) {
			printk("Usage: send <id|all> tcal <on|off|auto on|auto off|boot on|boot off|clear|heat start>\n");
			printk("Example: send 0 tcal on       - Enable temperature calibration on tracker 0\n");
			printk(
				"Example: send all tcal off    - Disable temperature calibration on all active trackers\n"
			);
			printk("Example: send 0 tcal auto on  - Enable auto-calibration on tracker 0\n");
			printk("Example: send all tcal auto off - Disable auto-calibration on all active trackers\n");
			printk("Example: send 0 tcal boot on - Enable boot calibration on tracker 0\n");
			printk("Example: send 0 tcal clear - Clear temperature calibration on tracker 0\n");
			printk("Example: send 0 tcal heat start - Request heated calibration at the tracker default target\n");
			printk("Heated-start ACK confirms delivery only, not heating acceptance.\n");
			return;
		}

		if (strcmp(arg3, "heat") == 0) {
			if (!arg4 || strcmp(arg4, "start") != 0 || arg5) {
				printk("Usage: send <id|all> tcal heat start (no target argument)\n");
				return;
			}
			console_send_flag(target_all, tracker_id, ESB_PONG_FLAG_TCAL_HEATED_START, "Heated T-Cal start");
		} else if (strcmp(arg3, "on") == 0) {
			console_send_flag(target_all, tracker_id, ESB_PONG_FLAG_TCAL_ON, "T-Cal enable");
		} else if (strcmp(arg3, "off") == 0) {
			console_send_flag(target_all, tracker_id, ESB_PONG_FLAG_TCAL_OFF, "T-Cal disable");
		} else if (strcmp(arg3, "auto") == 0) {
			if (!arg4) {
				printk("Usage: send <id|all> tcal auto <on|off>\n");
				return;
			}

			uint8_t tcal_cmd = 0xFF;
			const char *tcal_name = NULL;

			if (strcmp(arg4, "on") == 0) {
				tcal_cmd = ESB_PONG_FLAG_TCAL_AUTO_ON;
				tcal_name = "T-Cal auto-calibration enable";
			} else if (strcmp(arg4, "off") == 0) {
				tcal_cmd = ESB_PONG_FLAG_TCAL_AUTO_OFF;
				tcal_name = "T-Cal auto-calibration disable";
			} else {
				printk("Invalid tcal auto argument: %s (use 'on' or 'off')\n", arg4);
				return;
			}

			console_send_flag(target_all, tracker_id, tcal_cmd, tcal_name);
		} else if (strcmp(arg3, "clear") == 0) {
			console_send_flag(target_all, tracker_id, ESB_PONG_FLAG_RESET_TCAL, "T-Cal clear");
		} else if (strcmp(arg3, "boot") == 0) {
			if (!arg4) {
				printk("Usage: send <id|all> tcal boot <on|off>\n");
				return;
			}

			uint8_t tcal_cmd = 0xFF;
			const char *tcal_name = NULL;

			if (strcmp(arg4, "on") == 0) {
				tcal_cmd = ESB_PONG_FLAG_TCAL_BOOT_ON;
				tcal_name = "T-Cal boot-calibration enable";
			} else if (strcmp(arg4, "off") == 0) {
				tcal_cmd = ESB_PONG_FLAG_TCAL_BOOT_OFF;
				tcal_name = "T-Cal boot-calibration disable";
			} else {
				printk("Invalid tcal boot argument: %s (use 'on' or 'off')\n", arg4);
				return;
			}

			console_send_flag(target_all, tracker_id, tcal_cmd, tcal_name);
		} else {
			printk("Unknown tcal subcommand: %s (use 'on', 'off', 'auto', 'boot', 'clear' or 'heat start')\n", arg3);
		}
		return;
	} else if (strcmp(arg2, "tdma") == 0) {
		if (!arg3) {
			printk("Usage: send <id|all> tdma <on|off>\n");
			printk("Example: send 0 tdma on       - Enable TDMA scheduling on tracker 0\n");
			printk("Example: send all tdma off    - Disable TDMA scheduling on all active trackers\n");
			return;
		}

		if (strcmp(arg3, "on") == 0) {
			console_send_flag(target_all, tracker_id, ESB_PONG_FLAG_TDMA_ON, "TDMA enable");
		} else if (strcmp(arg3, "off") == 0) {
			console_send_flag(target_all, tracker_id, ESB_PONG_FLAG_TDMA_OFF, "TDMA disable");
		} else {
			printk("Unknown tdma subcommand: %s (use 'on' or 'off')\n", arg3);
		}
		return;
	} else if (strcmp(arg2, "test") == 0) {
		if (!arg3) {
			printk("Usage: send <id|all> test <on|off> [tps]\n");
			printk("Example: send 0 test on       - Enable test mode on tracker 0 (default rate)\n");
			printk("Example: send all test on 200 - Enable test mode, target 200 TPS\n");
			printk("  TPS is clamped to the tracker's TDMA slot capacity; 0 = built-in default.\n");
			return;
		}

		if (strcmp(arg3, "on") == 0) {
			/* One test-specific command carries the optional TPS (0 =
			 * built-in default) and the ON flag, so the rate is published
			 * before the tracker sees the flag. */
			uint16_t tps = 0;
			if (arg4 && *arg4) {
				char *endptr;
				long v = strtol(arg4, &endptr, 10);
				if (*endptr != '\0' || v < 0 || v > 1000) {
					printk("Invalid TPS. Must be 0-1000 (0 = default).\n");
					return;
				}
				tps = (uint16_t)v;
			}
			uint8_t st = rcv_cmd_remote_test_on(target_all ? RCV_HID_TARGET_ALL : tracker_id, tps);
			if (st == RCV_HID_ST_OK || st == RCV_HID_ST_STARTED) {
				if (target_all) {
					printk(
						"Test mode enable sent to all active trackers (target %u TPS%s)\n",
						tps,
						tps == 0 ? ", built-in default" : ""
					);
				} else {
					printk(
						"Test mode enable sent to tracker %d (target %u TPS%s)\n",
						tracker_id,
						tps,
						tps == 0 ? ", built-in default" : ""
					);
				}
			} else if (st == RCV_HID_ST_ENOENT) {
				printk("Test mode enable failed: no active trackers\n");
			} else {
				printk("Test mode enable failed: status %u\n", st);
			}
		} else if (strcmp(arg3, "off") == 0) {
			uint8_t st = rcv_cmd_remote_test_off(target_all ? RCV_HID_TARGET_ALL : tracker_id);
			if (st == RCV_HID_ST_OK || st == RCV_HID_ST_STARTED) {
				if (target_all) {
					printk("Test mode disable sent to all active trackers\n");
				} else {
					printk("Test mode disable sent to tracker %d\n", tracker_id);
				}
			} else if (st == RCV_HID_ST_ENOENT) {
				printk("Test mode disable failed: no active trackers\n");
			} else {
				printk("Test mode disable failed: status %u\n", st);
			}
		} else {
			printk("Unknown test subcommand: %s (use 'on [tps]' or 'off')\n", arg3);
		}
		return;
	}

	if (cmd_flag != 0xFF) {
		console_send_flag(target_all, tracker_id, cmd_flag, cmd_name);
	} else {
		printk("Unknown command: %s\n", arg2);
		printk(
			"Available commands: shutdown, calibrate [acc], meow, scan, mag, reboot, clear, dfu [ota], "
			"fusion, sens, "
			"reset, ping, tcal, tdma, test\n"
		);
	}
}
```

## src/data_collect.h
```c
/*
	SlimeVR Code is placed under the MIT license
	Copyright (c) 2025 SlimeVR Contributors

	Permission is hereby granted, free of charge, to any person obtaining a copy
	of this software and associated documentation files (the "Software"), to deal
	in the Software without restriction, including without limitation the rights
	to use, copy, modify, merge, publish, distribute, sublicense, and/or sell
	copies of the Software, and to permit persons to whom the Software is
	furnished to do so, subject to the following conditions:

	The above copyright notice and this permission notice shall be included in
	all copies or substantial portions of the Software.

	THE SOFTWARE IS PROVIDED "AS IS", WITHOUT WARRANTY OF ANY KIND, EXPRESS OR
	IMPLIED, INCLUDING BUT NOT LIMITED TO THE WARRANTIES OF MERCHANTABILITY,
	FITNESS FOR A PARTICULAR PURPOSE AND NONINFRINGEMENT. IN NO EVENT SHALL THE
	AUTHORS OR COPYRIGHT HOLDERS BE LIABLE FOR ANY CLAIM, DAMAGES OR OTHER
	LIABILITY, WHETHER IN AN ACTION OF CONTRACT, TORT OR OTHERWISE, ARISING FROM,
	OUT OF OR IN CONNECTION WITH THE SOFTWARE OR THE USE OR OTHER DEALINGS IN
	THE SOFTWARE.
*/
#ifndef SLIMENRF_DATA_COLLECT_H
#define SLIMENRF_DATA_COLLECT_H

#include <stdint.h>
#include <stdbool.h>

#ifdef CONFIG_DATA_COLLECT

int data_collect_init(void);

/* Write a raw data packet.
 * Called from ESB event handler when a raw packet arrives.
 * data: raw ESB payload, len: payload length, rssi: received signal strength */
void data_collect_write(const uint8_t *data, uint8_t len, uint8_t rssi);

/* Runtime control: start/stop data collection for a specific tracker */
void data_collect_start(uint8_t tracker_id);
void data_collect_stop(void);
void data_collect_forget_tracker(uint8_t tracker_id);
bool data_collect_is_active(void);
uint8_t data_collect_get_target_id(void);

/* Runtime control for simultaneous raw collection from selected trackers. */
void data_collect_batch_start(uint32_t mask, uint16_t rate_hz);
void data_collect_batch_stop(void);
bool data_collect_batch_is_active(void);
bool data_collect_batch_is_target(uint8_t tracker_id);

/* Check if data collection is active and this tracker is the target */
bool data_collect_is_target(uint8_t tracker_id);
#else /* !CONFIG_DATA_COLLECT */

static inline int data_collect_init(void) { return 0; }
static inline void data_collect_write(const uint8_t *data, uint8_t len, uint8_t rssi) { (void)data; (void)len; (void)rssi; }
static inline void data_collect_start(uint8_t tracker_id) { (void)tracker_id; }
static inline void data_collect_stop(void) {}
static inline void data_collect_forget_tracker(uint8_t tracker_id) { (void)tracker_id; }
static inline bool data_collect_is_active(void) { return false; }
static inline uint8_t data_collect_get_target_id(void) { return 0; }
static inline void data_collect_batch_start(uint32_t mask, uint16_t rate_hz) { (void)mask; (void)rate_hz; }
static inline void data_collect_batch_stop(void) {}
static inline bool data_collect_batch_is_active(void) { return false; }
static inline bool data_collect_batch_is_target(uint8_t tracker_id) { (void)tracker_id; return false; }
static inline bool data_collect_is_target(uint8_t tracker_id) { (void)tracker_id; return false; }
#endif /* CONFIG_DATA_COLLECT */

#endif /* SLIMENRF_DATA_COLLECT_H */
```

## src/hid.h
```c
/*
	SlimeVR Code is placed under the MIT license
	Copyright (c) 2025 SlimeVR Contributors

	Permission is hereby granted, free of charge, to any person obtaining a copy
	of this software and associated documentation files (the "Software"), to deal
	in the Software without restriction, including without limitation the rights
	to use, copy, modify, merge, publish, distribute, sublicense, and/or sell
	copies of the Software, and to permit persons to whom the Software is
	furnished to do so, subject to the following conditions:

	The above copyright notice and this permission notice shall be included in
	all copies or substantial portions of the Software.

	THE SOFTWARE IS PROVIDED "AS IS", WITHOUT WARRANTY OF ANY KIND, EXPRESS OR
	IMPLIED, INCLUDING BUT NOT LIMITED TO THE WARRANTIES OF MERCHANTABILITY,
	FITNESS FOR A PARTICULAR PURPOSE AND NONINFRINGEMENT. IN NO EVENT SHALL THE
	AUTHORS OR COPYRIGHT HOLDERS BE LIABLE FOR ANY CLAIM, DAMAGES OR OTHER
	LIABILITY, WHETHER IN AN ACTION OF CONTRACT, TORT OR OTHERWISE, ARISING FROM,
	OUT OF OR IN CONNECTION WITH THE SOFTWARE OR THE USE OR OTHER DEALINGS IN
	THE SOFTWARE.
*/
#ifndef SLIMENRF_HID
#define SLIMENRF_HID

#include <stdint.h>

void hid_write_packet_n(uint8_t* data, uint8_t rssi);
int hid_control_ack_enqueue(const uint8_t data[16],
			    uint32_t session_generation);
uint32_t hid_control_session_generation(void);
uint32_t hid_get_current_tps(void);
void hid_reset_rssi_smooth(uint8_t tracker_id);
void hid_reset_all_rssi_smooth(void);

#endif
```

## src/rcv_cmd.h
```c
/*
	SlimeVR Code is placed under the MIT license
	Copyright (c) 2025 SlimeVR Contributors
*/
#ifndef SLIMENRF_RCV_CMD_H
#define SLIMENRF_RCV_CMD_H

#include <stdbool.h>
#include <stddef.h>
#include <stdint.h>

#include "rcv_hid_cmd.h"

/* Shared command core used by console and HID. Status codes match RCV_HID_ST_*. */

uint8_t rcv_cmd_pair(uint8_t count);
uint8_t rcv_cmd_exit_pair(void);
uint8_t rcv_cmd_clear(void);
uint8_t rcv_cmd_add(uint64_t addr, int8_t *slot_out);
uint8_t rcv_cmd_remove(void);
uint8_t rcv_cmd_list(void);
uint8_t rcv_cmd_channel_set(uint8_t channel);
uint8_t rcv_cmd_channel_clear(void);
uint8_t rcv_cmd_rssi_scan(void);
uint8_t rcv_cmd_info(void);
uint8_t rcv_cmd_uptime(void);
uint8_t rcv_cmd_stats(uint32_t duration_seconds);
uint8_t rcv_cmd_resetstats(void);
uint8_t rcv_cmd_collect_start(uint8_t tracker_id);
uint8_t rcv_cmd_collect_stop(void);
uint8_t rcv_cmd_collect_batch_start(uint16_t rate_hz);
uint8_t rcv_cmd_collect_batch_stop(void);
/* Queue selected metadata repair for one active tracker. */
uint8_t rcv_cmd_collect_meta(uint8_t tracker_id, uint8_t mask, uint8_t chunk);
uint8_t rcv_cmd_reboot(void);
uint8_t rcv_cmd_dfu(bool ota);
uint8_t rcv_cmd_tracker_channel_all(uint8_t channel);
uint8_t rcv_cmd_tracker_channel_clear_all(void);

/* Queue ESB PONG remote flag. target_id RCV_HID_TARGET_ALL = all active.
 * Channel/test flags require their typed APIs. Raw ON/OFF use collection
 * admission; batch ON requires the rate-bearing batch API. */
uint8_t rcv_cmd_remote_flag(uint8_t target_id, uint8_t pong_flag);
/* Queue TEST_MODE_ON with optional target TPS (0 = tracker default). */
uint8_t rcv_cmd_remote_test_on(uint8_t target_id, uint16_t tps);
/* Queue TEST_MODE_OFF. */
uint8_t rcv_cmd_remote_test_off(uint8_t target_id);
/* Async terminal WOM query (0), set (1..35791), clear (ESB_WOM_TIMEOUT_CLEAR),
 * or entry (ESB_WOM_ENTER). Success for entry means admission, not sleep.
 * Shares the HID remote job; all targets uses the active-tracker scan. */
uint8_t rcv_cmd_remote_wom_command(uint8_t target_id, uint16_t minutes);

/* sens set / sens auto helpers */
uint8_t rcv_cmd_remote_sens_set(uint8_t target_id, float x, float y, float z);
uint8_t rcv_cmd_remote_sens_auto(uint8_t target_id, uint8_t axis, uint16_t revolutions);

/*
 * Process one HID type-254 command (first 16 bytes). Writes 16-byte ACK into ack_out.
 * Returns true if ack_out is valid and should be sent.
 */
bool rcv_cmd_process_hid(const uint8_t *buf, size_t len, uint32_t usb_generation,
			 uint8_t ack_out[RCV_HID_CMD_LEN]);

/* Async completion ACKs (e.g. tracker channel-all). Registered by HID, not console. */
typedef void (*rcv_cmd_async_ack_fn)(const uint8_t ack[RCV_HID_CMD_LEN]);
void rcv_cmd_set_async_ack(rcv_cmd_async_ack_fn fn);

#endif
```
